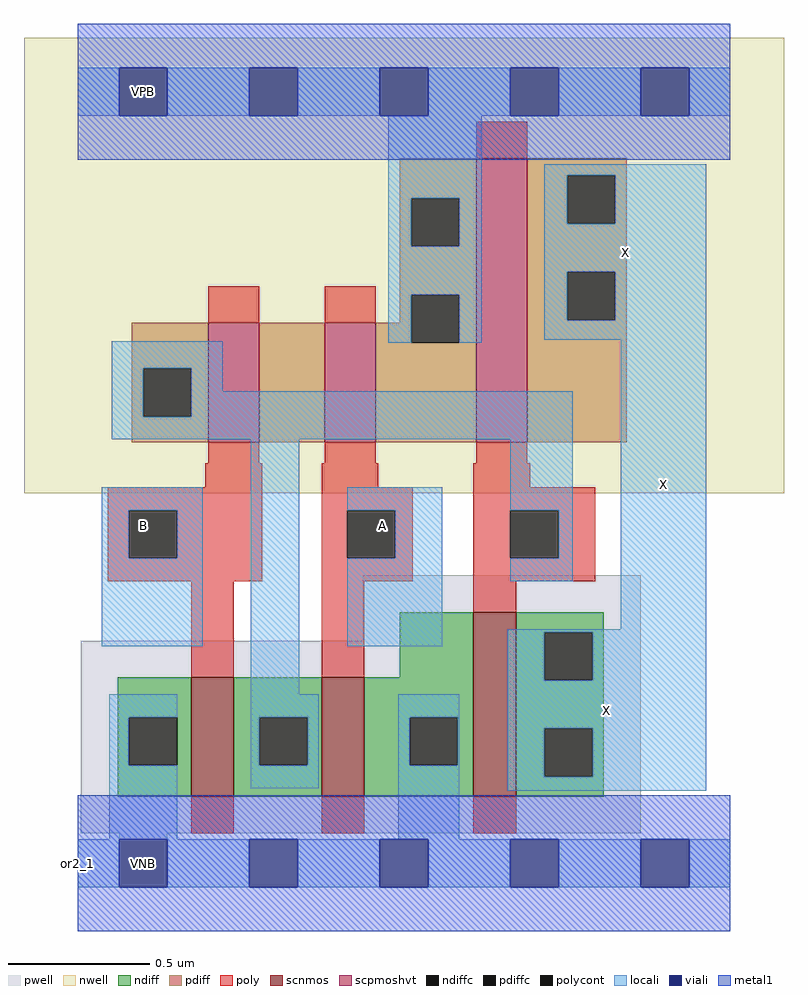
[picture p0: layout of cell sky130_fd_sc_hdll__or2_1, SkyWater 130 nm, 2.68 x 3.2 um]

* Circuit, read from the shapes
.subckt sky130_fd_sc_hdll__or2_1 A B VGND VNB VPB VPWR X
XM1 n1 B VGND VNB sky130_fd_pr__nfet_01v8 w=0.42 l=0.15
XM2 VGND A n1 VNB sky130_fd_pr__nfet_01v8 w=0.42 l=0.15
XM3 X n1 VGND VNB sky130_fd_pr__nfet_01v8 w=0.65 l=0.15
XM4 n2 B n1 VPB sky130_fd_pr__pfet_01v8_hvt w=0.42 l=0.18
XM5 VPWR A n2 VPB sky130_fd_pr__pfet_01v8_hvt w=0.42 l=0.18
XM6 X n1 VPWR VPB sky130_fd_pr__pfet_01v8_hvt w=1 l=0.18
.ends

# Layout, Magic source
magic
tech sky130A
magscale 1 2
<< nwell >>
rect -38 261 498 582
<< pwell >>
rect 201 157 397 203
rect 2 21 397 157
rect 29 -17 63 21
<< scnmos >>
rect 80 47 110 131
rect 172 47 202 131
rect 279 47 309 177
<< scpmoshvt >>
rect 92 297 128 381
rect 174 297 210 381
rect 281 297 317 497
<< ndiff >>
rect 227 131 279 177
rect 28 103 80 131
rect 28 69 36 103
rect 70 69 80 103
rect 28 47 80 69
rect 110 103 172 131
rect 110 69 128 103
rect 162 69 172 103
rect 110 47 172 69
rect 202 103 279 131
rect 202 69 234 103
rect 268 69 279 103
rect 202 47 279 69
rect 309 163 371 177
rect 309 129 329 163
rect 363 129 371 163
rect 309 95 371 129
rect 309 61 329 95
rect 363 61 371 95
rect 309 47 371 61
<< pdiff >>
rect 227 469 281 497
rect 227 435 235 469
rect 269 435 281 469
rect 227 401 281 435
rect 227 381 235 401
rect 38 349 92 381
rect 38 315 46 349
rect 80 315 92 349
rect 38 297 92 315
rect 128 297 174 381
rect 210 367 235 381
rect 269 367 281 401
rect 210 297 281 367
rect 317 485 387 497
rect 317 451 345 485
rect 379 451 387 485
rect 317 417 387 451
rect 317 383 345 417
rect 379 383 387 417
rect 317 297 387 383
<< ndiffc >>
rect 36 69 70 103
rect 128 69 162 103
rect 234 69 268 103
rect 329 129 363 163
rect 329 61 363 95
<< pdiffc >>
rect 235 435 269 469
rect 46 315 80 349
rect 235 367 269 401
rect 345 451 379 485
rect 345 383 379 417
<< poly >>
rect 281 497 317 523
rect 92 381 128 407
rect 174 381 210 407
rect 92 282 128 297
rect 174 282 210 297
rect 281 282 317 297
rect 90 265 130 282
rect 21 249 130 265
rect 21 215 36 249
rect 70 215 130 249
rect 21 199 130 215
rect 172 265 212 282
rect 279 265 319 282
rect 172 249 236 265
rect 172 215 190 249
rect 224 215 236 249
rect 172 199 236 215
rect 279 249 365 265
rect 279 215 305 249
rect 339 215 365 249
rect 279 199 365 215
rect 80 131 110 199
rect 172 131 202 199
rect 279 177 309 199
rect 80 21 110 47
rect 172 21 202 47
rect 279 21 309 47
<< polycont >>
rect 36 215 70 249
rect 190 215 224 249
rect 305 215 339 249
<< locali >>
rect 0 527 29 561
rect 63 527 121 561
rect 155 527 213 561
rect 247 527 305 561
rect 339 527 397 561
rect 431 527 460 561
rect 219 469 285 527
rect 219 435 235 469
rect 269 435 285 469
rect 219 401 285 435
rect 24 349 102 368
rect 219 367 235 401
rect 269 367 285 401
rect 329 485 443 493
rect 329 451 345 485
rect 379 451 443 485
rect 329 417 443 451
rect 329 383 345 417
rect 379 383 443 417
rect 329 369 443 383
rect 24 315 46 349
rect 80 333 102 349
rect 80 315 349 333
rect 24 299 349 315
rect 17 249 88 265
rect 17 215 36 249
rect 70 215 88 249
rect 17 153 88 215
rect 122 119 156 299
rect 190 249 257 265
rect 224 215 257 249
rect 190 153 257 215
rect 305 249 349 299
rect 339 215 349 249
rect 305 199 349 215
rect 383 165 443 369
rect 303 163 443 165
rect 303 129 329 163
rect 363 129 443 163
rect 22 103 70 119
rect 22 69 36 103
rect 22 17 70 69
rect 122 103 170 119
rect 122 69 128 103
rect 162 69 170 103
rect 122 53 170 69
rect 226 103 269 119
rect 226 69 234 103
rect 268 69 269 103
rect 226 17 269 69
rect 303 95 443 129
rect 303 61 329 95
rect 363 61 443 95
rect 303 51 443 61
rect 0 -17 29 17
rect 63 -17 121 17
rect 155 -17 213 17
rect 247 -17 305 17
rect 339 -17 397 17
rect 431 -17 460 17
<< viali >>
rect 29 527 63 561
rect 121 527 155 561
rect 213 527 247 561
rect 305 527 339 561
rect 397 527 431 561
rect 29 -17 63 17
rect 121 -17 155 17
rect 213 -17 247 17
rect 305 -17 339 17
rect 397 -17 431 17
<< metal1 >>
rect 0 561 460 592
rect 0 527 29 561
rect 63 527 121 561
rect 155 527 213 561
rect 247 527 305 561
rect 339 527 397 561
rect 431 527 460 561
rect 0 496 460 527
rect 0 17 460 48
rect 0 -17 29 17
rect 63 -17 121 17
rect 155 -17 213 17
rect 247 -17 305 17
rect 339 -17 397 17
rect 431 -17 460 17
rect 0 -48 460 -17
<< labels >>
flabel locali s 193 221 237 255 0 FreeSans 200 0 0 0 A
port 1 nsew signal input
flabel locali s 383 165 443 369 0 FreeSans 200 0 0 0 X
port 7 nsew signal output
flabel locali s 29 221 63 255 0 FreeSans 200 0 0 0 B
port 2 nsew signal input
flabel nwell s 29 527 63 561 0 FreeSans 200 0 0 0 VPB
port 5 nsew power bidirectional
flabel pwell s 29 -17 63 17 0 FreeSans 200 0 0 0 VNB
port 4 nsew ground bidirectional
flabel metal1 s 29 -17 63 17 0 FreeSans 200 0 0 0 VGND
port 3 nsew ground bidirectional
flabel metal1 s 29 527 63 561 0 FreeSans 200 0 0 0 VPWR
port 6 nsew power bidirectional
rlabel comment s 0 0 0 0 4 or2_1
rlabel locali s 329 369 443 493 1 X
port 7 nsew signal output
rlabel locali s 303 51 443 165 1 X
port 7 nsew signal output
<< properties >>
string LEFsite unithd
string LEFclass CORE
string FIXED_BBOX 0 0 460 544
string GDS_FILE $PDKPATH/libs.ref/sky130_fd_sc_hdll/gds/sky130_fd_sc_hdll.gds
string LEFsymmetry X Y R90
string GDS_END 2595036
string GDS_START 2590742
string LEFproperties maskLayoutSubType "abstract" prCellType "standard" originalViewName "layout"
<< end >>
